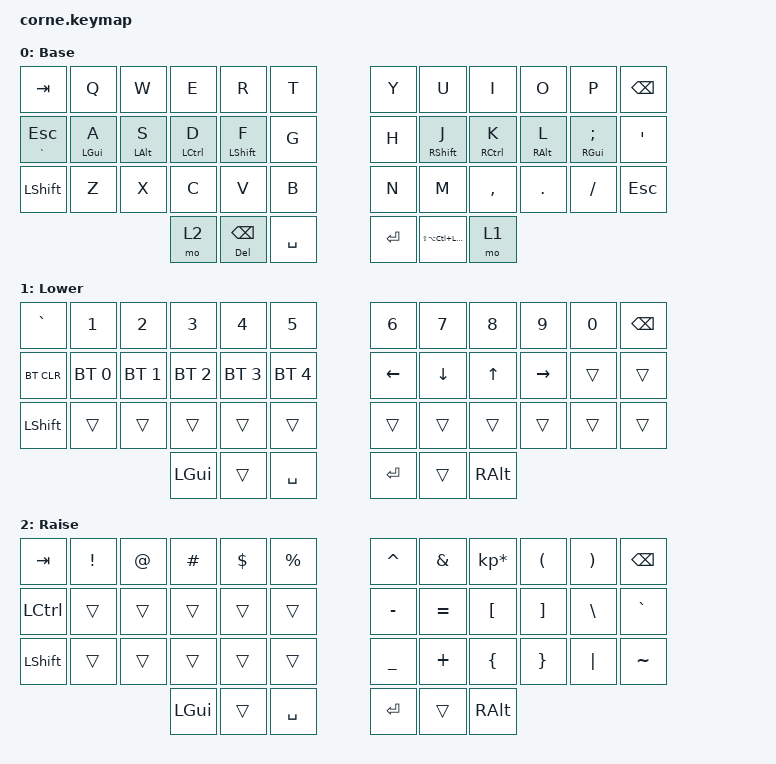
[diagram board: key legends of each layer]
/*
 * Copyright (c) 2020 The ZMK Contributors
 *
 * SPDX-License-Identifier: MIT
 */

#include <behaviors.dtsi>
#include <dt-bindings/zmk/bt.h>
#include <dt-bindings/zmk/keys.h>

/ {
    keymap {
        compatible = "zmk,keymap";

        default_layer {
            // -----------------------------------------------------------------------------------------
            // |  TAB |  Q  |  W  |  E  |  R  |  T  |   |  Y  |  U   |  I  |  O  |  P  | BKSP |
            // | CTRL |  A  |  S  |  D  |  F  |  G  |   |  H  |  J   |  K  |  L  |  ;  |  '   |
            // | SHFT |  Z  |  X  |  C  |  V  |  B  |   |  N  |  M   |  ,  |  .  |  /  | ESC  |
            //                    | GUI | LWR | SPC |   | ENT | RSE  | ALT |

            display-name = "Base";
            bindings = <
&kp TAB           &kp Q           &kp W           &kp E        &kp R                 &kp T        &kp Y    &kp U                 &kp I                &kp O            &kp P                    &kp BSPC
&mt GRAVE ESCAPE  &mt LEFT_GUI A  &mt LEFT_ALT S  &mt LCTRL D  &mt LEFT_SHIFT F      &kp G        &kp H    &mt RIGHT_SHIFT J     &mt RIGHT_CONTROL K  &mt RIGHT_ALT L  &mt RIGHT_GUI SEMICOLON  &kp SQT
&kp LSHFT         &kp Z           &kp X           &kp C        &kp V                 &kp B        &kp N    &kp M                 &kp COMMA            &kp DOT          &kp FSLH                 &kp ESC
                                                  &mo 2        &mt DELETE BACKSPACE  &kp SPACE    &kp RET  &kp LS(LA(LC(LGUI)))  &mo 1
            >;
        };

        lower_layer {
            // -----------------------------------------------------------------------------------------
            // |  TAB |  1  |  2  |  3  |  4  |  5  |   |  6  |  7  |  8  |  9  |  0  | BKSP |
            // | BTCLR| BT1 | BT2 | BT3 | BT4 | BT5 |   | LFT | DWN |  UP | RGT |     |      |
            // | SHFT |     |     |     |     |     |   |     |     |     |     |     |      |
            //                    | GUI |     | SPC |   | ENT |     | ALT |

            display-name = "Lower";
            bindings = <
&kp GRAVE   &kp N1        &kp N2        &kp N3        &kp N4        &kp N5          &kp N6    &kp N7    &kp N8    &kp N9     &kp N0  &kp BSPC
&bt BT_CLR  &bt BT_SEL 0  &bt BT_SEL 1  &bt BT_SEL 2  &bt BT_SEL 3  &bt BT_SEL 4    &kp LEFT  &kp DOWN  &kp UP    &kp RIGHT  &trans  &trans
&kp LSHFT   &trans        &trans        &trans        &trans        &trans          &trans    &trans    &trans    &trans     &trans  &trans
                                        &kp LGUI      &trans        &kp SPACE       &kp RET   &trans    &kp RALT
            >;
        };

        raise_layer {
            // -----------------------------------------------------------------------------------------
            // |  TAB |  !  |  @  |  #  |  $  |  %  |   |  ^  |  &  |  *  |  (  |  )  | BKSP |
            // | CTRL |     |     |     |     |     |   |  -  |  =  |  [  |  ]  |  \  |  `   |
            // | SHFT |     |     |     |     |     |   |  _  |  +  |  {  |  }  | "|" |  ~   |
            //                    | GUI |     | SPC |   | ENT |     | ALT |

            display-name = "Raise";
            bindings = <
&kp TAB    &kp EXCL  &kp AT  &kp HASH  &kp DLLR  &kp PRCNT    &kp CARET  &kp AMPS   &kp KP_MULTIPLY  &kp LPAR  &kp RPAR  &kp BSPC
&kp LCTRL  &trans    &trans  &trans    &trans    &trans       &kp MINUS  &kp EQUAL  &kp LBKT         &kp RBKT  &kp BSLH  &kp GRAVE
&kp LSHFT  &trans    &trans  &trans    &trans    &trans       &kp UNDER  &kp PLUS   &kp LBRC         &kp RBRC  &kp PIPE  &kp TILDE
                             &kp LGUI  &trans    &kp SPACE    &kp RET    &trans     &kp RALT
            >;
        };

        extra_1 { status = "reserved"; };

        extra_2 { status = "reserved"; };

        extra_3 { status = "reserved"; };
    };
};
